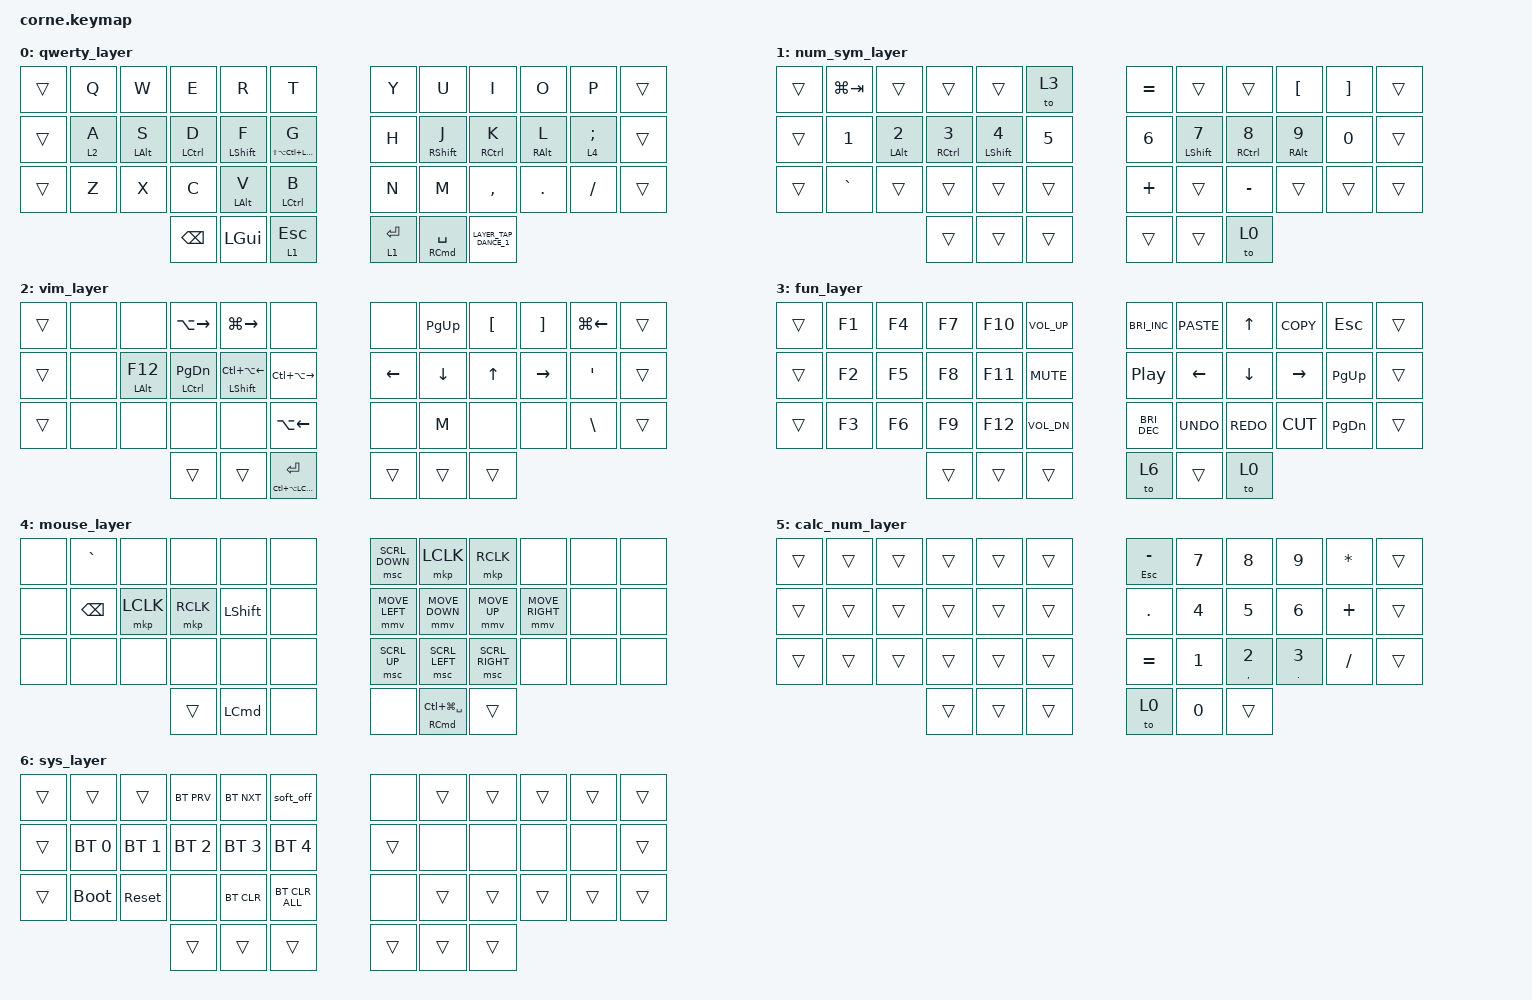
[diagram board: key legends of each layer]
/*
 * Copyright (c) 2020 The ZMK Contributors
 *
 * SPDX-License-Identifier: MIT
 */
// defining the mouse pointing movement value and scroll

#define ZMK_POINTING_DEFAULT_MOVE_VAL 1500  // default: 600
#define ZMK_POINTING_DEFAULT_SCRL_VAL 20    // default: 10

#include <behaviors.dtsi>
#include <dt-bindings/zmk/bt.h>
#include <dt-bindings/zmk/keys.h>
#include <dt-bindings/zmk/pointing.h>

&soft_off {
    hold-time-ms = <5000>; // Only turn off it the key is held for 5 seconds or longer.
};

&soft_off { /delete-property/ split-peripheral-off-on-press; };

&mt {
    tapping-term-ms = <400>;
    quick-tap-ms = <175>;
    require-prior-idle-ms = <150>;
    flavor = "balanced";
};

&lt { tapping-term-ms = <200>; };

/ {
    combos {
        compatible = "zmk,combos";

        combo_tab {
            bindings = <&kp TAB>;
            key-positions = <13 14 15>;
        };

        combo_enter {
            bindings = <&kp BACKSPACE>;
            key-positions = <21 22>;
        };

        exclm {
            bindings = <&kp EXCLAMATION>;
            key-positions = <1 13>;
        };

        at {
            bindings = <&kp AT_SIGN>;
            key-positions = <2 14>;
        };

        hash {
            bindings = <&kp HASH>;
            key-positions = <3 15>;
        };

        dllr {
            bindings = <&kp DOLLAR>;
            key-positions = <4 16>;
        };

        percnt {
            bindings = <&kp PERCENT>;
            key-positions = <5 17>;
        };

        caret {
            bindings = <&kp CARET>;
            key-positions = <6 18>;
        };

        and {
            bindings = <&kp AMPERSAND>;
            key-positions = <7 19>;
        };

        str {
            bindings = <&kp ASTERISK>;
            key-positions = <8 20>;
        };

        leftparen {
            bindings = <&kp LPAR>;
            key-positions = <9 21>;
        };

        rparen {
            bindings = <&kp RPAR>;
            key-positions = <10 22>;
        };

        layout_switch {
            bindings = <&to 0>;
            key-positions = <36 37 40 41>;
        };

        system_reset {
            bindings = <&sys_reset>;
            key-positions = <3 4 5>;
        };

        bootloader {
            bindings = <&bootloader>;
            key-positions = <15 16 17>;
        };

        system_layer_combo {
            bindings = <&mo 6>;
            key-positions = <36 37>;
        };

        TAB2 {
            bindings = <&kp TAB>;
            key-positions = <16 14>;
        };

        BACKTICK {
            bindings = <&kp GRAVE>;
            key-positions = <28 26>;
        };

        SLEEP {
            bindings = <&kp LC(LG(Q))>;
            key-positions = <16 17>;
            layers = <2>;
        };

        TAB_3 {
            bindings = <&kp TAB>;
            key-positions = <16 15>;
        };

        BACKTICK_2 {
            bindings = <&kp GRAVE>;
            key-positions = <28 27>;
        };
    };

    conditional_layers { compatible = "zmk,conditional-layers"; };

    behaviors {
        TD0: TD0 {
            compatible = "zmk,behavior-hold-tap";
            label = "TD0";
            bindings = <&kp>, <&kp>;

            #binding-cells = <2>;
            tapping-term-ms = <200>;
            flavor = "tap-preferred";
        };

        TAP_DANCE_BACKSPACE_TOGGLE: TAP_DANCE_BACKSPACE_TOGGLE {
            compatible = "zmk,behavior-tap-dance";
            label = "TAP_DANCE_BACKSPACE_TOGGLE";
            #binding-cells = <0>;
            bindings = <&kp BACKSPACE>, <&to 6>;
        };

        LAYER_HOLD_TAP: LAYER_HOLD_TAP {
            compatible = "zmk,behavior-hold-tap";
            label = "LAYER_HOLD_TAP";
            bindings = <&mo>, <&to>;

            #binding-cells = <2>;
            tapping-term-ms = <200>;
        };

        LAYER_TAP_DANCE_1: LAYER_TAP_DANCE_1 {
            compatible = "zmk,behavior-tap-dance";
            label = "LAYER_TAP_DANCE_1";
            #binding-cells = <0>;
            bindings = <&mo 2>, <&to 5>;
        };
    };

    keymap {
        compatible = "zmk,keymap";

        qwerty_layer {
            bindings = <
&trans  &kp Q    &kp W           &kp E               &kp R             &kp T                             &kp Y        &kp U                    &kp I                &kp O            &kp P            &trans
&trans  &lt 2 A  &mt LEFT_ALT S  &mt LEFT_CONTROL D  &mt LEFT_SHIFT F  &mt LS(LA(LC(LEFT_COMMAND))) G    &kp H        &mt RIGHT_SHIFT J        &mt RIGHT_CONTROL K  &mt RIGHT_ALT L  &lt 4 SEMICOLON  &trans
&trans  &kp Z    &kp X           &kp C               &mt LEFT_ALT V    &mt LEFT_CONTROL B                &kp N        &kp M                    &kp COMMA            &kp DOT          &kp FSLH         &trans
                                 &kp BACKSPACE       &kp LEFT_GUI      &lt 1 ESCAPE                      &lt 1 ENTER  &mt RIGHT_COMMAND SPACE  &LAYER_TAP_DANCE_1
            >;
        };

        num_sym_layer {
            bindings = <
&trans  &kp LG(TAB)  &trans           &trans        &trans             &to 3     &kp EQUAL  &trans             &trans        &kp LBKT          &kp RBKT  &trans
&trans  &kp N1       &mt LEFT_ALT N2  &mt RCTRL N3  &mt LEFT_SHIFT N4  &kp N5    &kp N6     &mt LEFT_SHIFT N7  &mt RCTRL N8  &mt RIGHT_ALT N9  &kp N0    &trans
&trans  &kp GRAVE    &trans           &trans        &trans             &trans    &kp PLUS   &trans             &kp MINUS     &trans            &trans    &trans
                                      &trans        &trans             &trans    &trans     &trans             &to 0
            >;
        };

        vim_layer {
            bindings = <
&trans  &none  &none             &kp LA(RIGHT)               &kp LG(RIGHT_ARROW)                &none                             &none     &kp PAGE_UP  &kp LEFT_BRACKET  &kp RIGHT_BRACKET  &kp LG(LEFT_ARROW)  &trans
&trans  &none  &mt LEFT_ALT F12  &mt LEFT_CONTROL PAGE_DOWN  &mt LEFT_SHIFT LC(LA(LEFT_ARROW))  &kp LC(LA(RIGHT))                 &kp LEFT  &kp DOWN     &kp UP            &kp RIGHT          &kp SQT             &trans
&trans  &none  &none             &none                       &none                              &kp LA(LEFT)                      &none     &kp M        &none             &none              &kp BACKSLASH       &trans
                                 &trans                      &trans                             &mt LC(LA(LEFT_COMMAND)) ENTER    &trans    &trans       &trans
            >;
        };

        fun_layer {
            bindings = <
&trans  &kp F1  &kp F4  &kp F7  &kp F10  &kp C_VOL_UP    &kp C_BRIGHTNESS_INC  &kp K_PASTE     &kp UP_ARROW    &kp K_COPY  &kp ESC        &trans
&trans  &kp F2  &kp F5  &kp F8  &kp F11  &kp C_MUTE      &kp C_PLAY_PAUSE      &kp LEFT_ARROW  &kp DOWN_ARROW  &kp RIGHT   &kp PG_UP      &trans
&trans  &kp F3  &kp F6  &kp F9  &kp F12  &kp C_VOL_DN    &kp C_BRIGHTNESS_DEC  &kp K_UNDO      &kp K_REDO      &kp K_CUT   &kp PAGE_DOWN  &trans
                        &trans  &trans   &trans          &to 6                 &trans          &to 0
            >;
        };

        mouse_layer {
            bindings = <
&none  &kp GRAVE      &none      &none      &none             &none    &msc SCRL_DOWN  &mkp LCLK                        &mkp RCLK        &none            &none  &none
&none  &kp BACKSPACE  &mkp LCLK  &mkp RCLK  &kp LEFT_SHIFT    &none    &mmv MOVE_LEFT  &mmv MOVE_DOWN                   &mmv MOVE_UP     &mmv MOVE_RIGHT  &none  &none
&none  &none          &none      &none      &none             &none    &msc SCRL_UP    &msc SCRL_LEFT                   &msc SCRL_RIGHT  &none            &none  &none
                                 &trans     &kp LEFT_COMMAND  &none    &none           &mt RIGHT_COMMAND LC(LG(SPACE))  &trans
            >;
        };

        calc_num_layer {
            bindings = <
&trans  &trans  &trans  &trans  &trans  &trans    &mt ESCAPE MINUS  &kp N7  &kp N8        &kp N9            &kp ASTERISK  &trans
&trans  &trans  &trans  &trans  &trans  &trans    &kp PERIOD        &kp N4  &kp N5        &kp N6            &kp PLUS      &trans
&trans  &trans  &trans  &trans  &trans  &trans    &kp EQUAL         &kp N1  &mt COMMA N2  &mt DOT NUMBER_3  &kp SLASH     &trans
                        &trans  &trans  &trans    &to 0             &kp N0  &trans
            >;
        };

        sys_layer {
            bindings = <
&trans  &trans        &trans        &bt BT_PRV    &bt BT_NXT    &soft_off         &none   &trans  &trans  &trans  &trans  &trans
&trans  &bt BT_SEL 0  &bt BT_SEL 1  &bt BT_SEL 2  &bt BT_SEL 3  &bt BT_SEL 4      &trans  &none   &none   &none   &none   &trans
&trans  &bootloader   &sys_reset    &none         &bt BT_CLR    &bt BT_CLR_ALL    &none   &trans  &trans  &trans  &trans  &trans
                                    &trans        &trans        &trans            &trans  &trans  &trans
            >;
        };
    };
};
